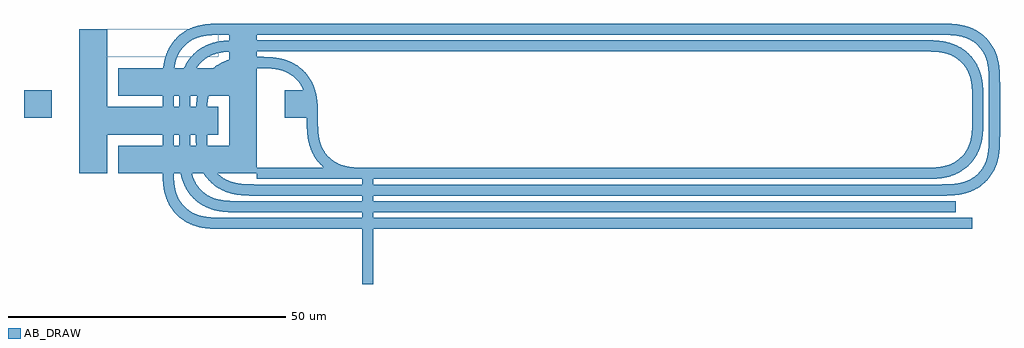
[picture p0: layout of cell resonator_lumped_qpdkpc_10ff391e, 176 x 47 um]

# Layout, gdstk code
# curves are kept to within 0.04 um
from math import pi, radians
import gdstk
lib = gdstk.Library(unit=1e-6, precision=1e-09)
def R(c, l, rs):  # rectangles x0, y0, x1, y1
    for r in rs: c.add(gdstk.rectangle(r[:2], r[2:], *l))
def P(c, l, *ps):  # polygons
    for p in ps: c.add(gdstk.Polygon(p, *l))
AB_DRAW = (10, 0)

interdigital_capacitor__ = lib.new_cell('interdigital_capacitor__7b2cdda6')
P(interdigital_capacitor__, AB_DRAW, [(0,0),(0,26),(25,26),(25,21),(5,21),(5,26),(25,26),(25,21),(5,21),(5,12),(25,12),(25,7),(5,7),(5,0)],
  [(7,0),(7,5),(27,5),(27,14),(7,14),(7,19),(27,19),(27,26),(32,26),(32,0)])

bend_euler_rnone_a90_p0_ = lib.new_cell('bend_euler_RNone_A90_P0_f2ebbce3')
P(bend_euler_rnone_a90_p0_, AB_DRAW, [(0,-1),(0,1),(2.544,1.074),(4.278,1.37),(5.078,1.642),(5.823,2.012),(6.417,2.409),(7.044,2.956),(7.591,3.583),(7.988,4.177),(8.358,4.922),(8.63,5.722),(8.926,7.456),(9,10),(11,10),(10.905,7.132),(10.761,6.091),(10.517,5.044),(10.144,4.011),(9.713,3.165),(9.186,2.376),(8.459,1.541),(7.624,0.814),(6.835,0.287),(5.989,-0.144),(4.956,-0.517),(3.909,-0.761),(2.868,-0.905)])

straight_l3_csxs_271b62_ = lib.new_cell('straight_L3_CSxs_271b62_775fe4cb')
R(straight_l3_csxs_271b62_, AB_DRAW, [(0,-1,3,1)])

straight_l123_csxs_271b_ = lib.new_cell('straight_L123_CSxs_271b_0120f129')
R(straight_l123_csxs_271b_, AB_DRAW, [(0,-1,123,1)])

straight_l100_csxs_271b_ = lib.new_cell('straight_L100_CSxs_271b_037a46e6')
R(straight_l100_csxs_271b_, AB_DRAW, [(0,-1,100,1)])

straight_l9_csxs_271b62_ = lib.new_cell('straight_L9_CSxs_271b62_86161cfb')
R(straight_l9_csxs_271b62_, AB_DRAW, [(0,-1,9,1)])

straight_l129_csxs_271b_ = lib.new_cell('straight_L129_CSxs_271b_e37176d8')
R(straight_l129_csxs_271b_, AB_DRAW, [(0,-1,129,1)])

straight_l15_csxs_271b6_ = lib.new_cell('straight_L15_CSxs_271b6_6a3f6760')
R(straight_l15_csxs_271b6_, AB_DRAW, [(0,-1,15,1)])

straight_l135_csxs_271b_ = lib.new_cell('straight_L135_CSxs_271b_2931a3fa')
R(straight_l135_csxs_271b_, AB_DRAW, [(0,-1,135,1)])

spiral_gdsfactorypcompo_ = lib.new_cell('spiral_gdsfactorypcompo_eed3d9ce')
spiral_gdsfactorypcompo_.add(gdstk.Reference(bend_euler_rnone_a90_p0_, (0,0), rotation=pi, x_reflection=True))
spiral_gdsfactorypcompo_.add(gdstk.Reference(bend_euler_rnone_a90_p0_, (-10,10), rotation=pi/2))
spiral_gdsfactorypcompo_.add(gdstk.Reference(bend_euler_rnone_a90_p0_, (-20,20), rotation=pi))
spiral_gdsfactorypcompo_.add(gdstk.Reference(bend_euler_rnone_a90_p0_, (-30,7), rotation=3*pi/2))
spiral_gdsfactorypcompo_.add(gdstk.Reference(straight_l3_csxs_271b62_, (-30,10), rotation=3*pi/2))
spiral_gdsfactorypcompo_.add(gdstk.Reference(straight_l123_csxs_271b_, (-20,-3)))
spiral_gdsfactorypcompo_.add(gdstk.Reference(straight_l100_csxs_271b_, (0,0)))
spiral_gdsfactorypcompo_.add(gdstk.Reference(bend_euler_rnone_a90_p0_, (100,0)))
spiral_gdsfactorypcompo_.add(gdstk.Reference(bend_euler_rnone_a90_p0_, (103,-3)))
spiral_gdsfactorypcompo_.add(gdstk.Reference(bend_euler_rnone_a90_p0_, (110,13), rotation=pi/2))
spiral_gdsfactorypcompo_.add(gdstk.Reference(bend_euler_rnone_a90_p0_, (113,16), rotation=pi/2))
spiral_gdsfactorypcompo_.add(gdstk.Reference(bend_euler_rnone_a90_p0_, (-23,23), rotation=pi))
spiral_gdsfactorypcompo_.add(gdstk.Reference(bend_euler_rnone_a90_p0_, (-26,26), rotation=pi))
spiral_gdsfactorypcompo_.add(gdstk.Reference(bend_euler_rnone_a90_p0_, (-33,4), rotation=3*pi/2))
spiral_gdsfactorypcompo_.add(gdstk.Reference(bend_euler_rnone_a90_p0_, (-36,1), rotation=3*pi/2))
spiral_gdsfactorypcompo_.add(gdstk.Reference(straight_l3_csxs_271b62_, (110,10), rotation=pi/2))
spiral_gdsfactorypcompo_.add(gdstk.Reference(straight_l9_csxs_271b62_, (113,7), rotation=pi/2))
spiral_gdsfactorypcompo_.add(gdstk.Reference(straight_l123_csxs_271b_, (100,23), rotation=pi))
spiral_gdsfactorypcompo_.add(gdstk.Reference(straight_l129_csxs_271b_, (103,26), rotation=pi))
spiral_gdsfactorypcompo_.add(gdstk.Reference(straight_l9_csxs_271b62_, (-33,13), rotation=3*pi/2))
spiral_gdsfactorypcompo_.add(gdstk.Reference(straight_l15_csxs_271b6_, (-36,16), rotation=3*pi/2))
spiral_gdsfactorypcompo_.add(gdstk.Reference(straight_l129_csxs_271b_, (-23,-6)))
spiral_gdsfactorypcompo_.add(gdstk.Reference(straight_l135_csxs_271b_, (-26,-9)))

rectangle_gdsfactorypco_ = lib.new_cell('rectangle_gdsfactorypco_56bed096')
R(rectangle_gdsfactorypco_, AB_DRAW, [(0,0,20,2)])

c_rectangle_gdsfactorypco_ = lib.new_cell('rectangle_gdsfactorypco_517b6df5')
R(c_rectangle_gdsfactorypco_, AB_DRAW, [(0,0,2,20)])

c_rectangle_gdsfactorypco__ = lib.new_cell('rectangle_gdsfactorypco_d7a783ab')
R(c_rectangle_gdsfactorypco__, AB_DRAW, [(0,0,5,5)])

resonator_lumped_qpdkpc_ = lib.new_cell('resonator_lumped_qpdkpc_10ff391e')
resonator_lumped_qpdkpc_.add(gdstk.Reference(interdigital_capacitor__, (0,0)))
resonator_lumped_qpdkpc_.add(gdstk.Reference(spiral_gdsfactorypcompo_, (52,0)))
resonator_lumped_qpdkpc_.add(gdstk.Reference(rectangle_gdsfactorypco_, (32,-1)))
resonator_lumped_qpdkpc_.add(gdstk.Reference(c_rectangle_gdsfactorypco_, (51,-20)))
resonator_lumped_qpdkpc_.add(gdstk.Reference(c_rectangle_gdsfactorypco__, (-10,10)))
resonator_lumped_qpdkpc_.add(gdstk.Reference(c_rectangle_gdsfactorypco__, (37,10)))

lib.write_gds('resonator_lumped_qpdkpc_10ff391e.gds')
